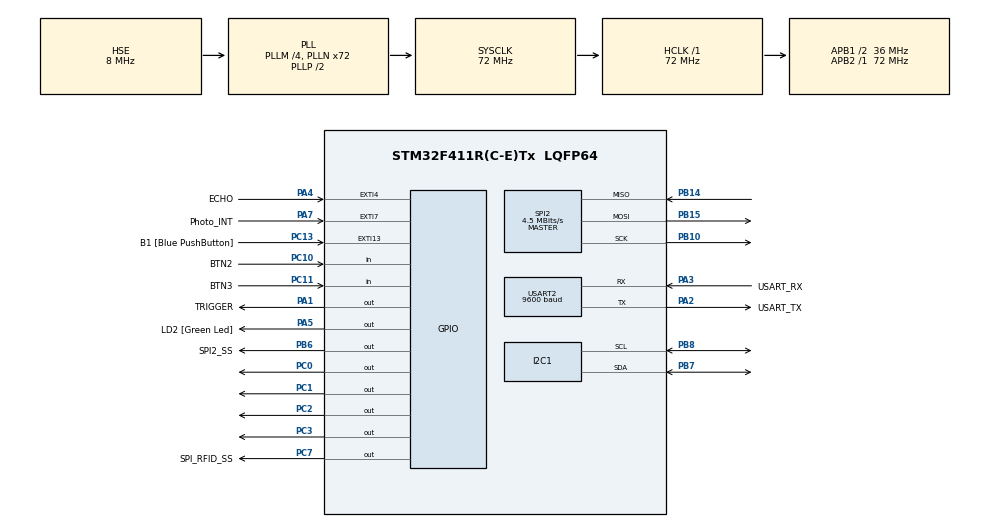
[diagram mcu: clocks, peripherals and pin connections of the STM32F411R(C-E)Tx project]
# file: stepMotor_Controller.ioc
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Mcu.Family=STM32F4
Mcu.Name=STM32F411R(C-E)Tx
Mcu.Package=LQFP64
NVIC.EXTI4_IRQn=true\:0\:3\:false\:false\:true\:true\:true
NVIC.EXTI9_5_IRQn=true\:0\:2\:false\:false\:true\:true\:true
NVIC.PriorityGroup=NVIC_PRIORITYGROUP_0
NVIC.TIM2_IRQn=true\:0\:1\:false\:false\:true\:true\:true
NVIC.TIM4_IRQn=true\:0\:0\:true\:false\:true\:true\:true
PA1.GPIO_Label=TRIGGER
PA1.Signal=GPIO_Output
PA13.GPIO_Label=TMS
PA13.Mode=Serial_Wire
PA13.Signal=SYS_JTMS-SWDIO
PA14.GPIO_Label=TCK
PA14.Mode=Serial_Wire
PA14.Signal=SYS_JTCK-SWCLK
PA2.GPIO_Label=USART_TX
PA2.Mode=Asynchronous
PA2.Signal=USART2_TX
PA3.GPIO_Label=USART_RX
PA3.Mode=Asynchronous
PA3.Signal=USART2_RX
PA4.GPIO_Label=ECHO
PA4.GPIO_ModeDefaultEXTI=GPIO_MODE_IT_RISING_FALLING
PA4.Signal=GPXTI4
PA5.GPIO_Label=LD2 [Green Led]
PA5.Signal=GPIO_Output
PA7.GPIO_Label=Photo_INT
PA7.GPIO_ModeDefaultEXTI=GPIO_MODE_IT_RISING
PA7.Signal=GPXTI7
PB10.Mode=Full_Duplex_Master
PB10.Signal=SPI2_SCK
PB14.Mode=Full_Duplex_Master
PB14.Signal=SPI2_MISO
PB15.Mode=Full_Duplex_Master
PB15.Signal=SPI2_MOSI
PB3.GPIO_Label=SWO
PB3.Signal=SYS_JTDO-SWO
PB6.GPIO_Label=SPI2_SS
PB6.Signal=GPIO_Output
PB7.Mode=I2C
PB7.Signal=I2C1_SDA
PB8.Mode=I2C
PB8.Signal=I2C1_SCL
PC0.Signal=GPIO_Output
PC1.Signal=GPIO_Output
PC10.GPIO_Label=BTN2
PC10.Signal=GPIO_Input
PC11.GPIO_Label=BTN3
PC11.Signal=GPIO_Input
PC13-ANTI_TAMP.GPIO_Label=B1 [Blue PushButton]
PC13-ANTI_TAMP.GPIO_ModeDefaultEXTI=GPIO_MODE_IT_FALLING
PC13-ANTI_TAMP.Signal=GPXTI13
PC14-OSC32_IN.Mode=LSE-External-Oscillator
PC14-OSC32_IN.Signal=RCC_OSC32_IN
PC15-OSC32_OUT.Mode=LSE-External-Oscillator
PC15-OSC32_OUT.Signal=RCC_OSC32_OUT
PC2.Signal=GPIO_Output
PC3.Signal=GPIO_Output
PC7.GPIO_Label=SPI_RFID_SS
PC7.Signal=GPIO_Output
PH0\ -\ OSC_IN.Mode=HSE-External-Clock-Source
PH0\ -\ OSC_IN.Signal=RCC_OSC_IN
PH1\ -\ OSC_OUT.Mode=HSE-External-Clock-Source
PH1\ -\ OSC_OUT.Signal=RCC_OSC_OUT
ProjectManager.HeapSize=0x200
ProjectManager.StackSize=0x400
ProjectManager.TargetToolchain=STM32CubeIDE
RCC.48MHZClocksFreq_Value=36000000
RCC.AHBFreq_Value=72000000
RCC.APB1CLKDivider=RCC_HCLK_DIV2
RCC.APB1Freq_Value=36000000
RCC.APB1TimFreq_Value=72000000
RCC.APB2Freq_Value=72000000
RCC.APB2TimFreq_Value=72000000
RCC.CortexFreq_Value=72000000
RCC.FLatency-AdvancedSettings=FLASH_LATENCY_2
RCC.HCLKFreq_Value=72000000
RCC.HSE_VALUE=8000000
RCC.HSI_VALUE=16000000
RCC.PLLM=4
RCC.PLLN=72
RCC.PLLSourceVirtual=RCC_PLLSOURCE_HSE
RCC.SYSCLKFreq_VALUE=72000000
RCC.SYSCLKSource=RCC_SYSCLKSOURCE_PLLCLK
RCC.VCOOutputFreq_Value=144000000
SPI2.BaudRatePrescaler=SPI_BAUDRATEPRESCALER_8
SPI2.CalculateBaudRate=4.5 MBits/s
SPI2.Direction=SPI_DIRECTION_2LINES
SPI2.Mode=SPI_MODE_MASTER
SPI2.VirtualType=VM_MASTER
TIM2.AutoReloadPreload=TIM_AUTORELOAD_PRELOAD_ENABLE
TIM2.Period=65535
TIM2.Prescaler=720-1
TIM3.Prescaler=72-1
TIM4.Period=100-1
TIM4.Prescaler=720-1
USART2.BaudRate=9600
USART2.VirtualMode=VM_ASYNC
VP_TIM2_VS_ClockSourceINT.Mode=Internal
VP_TIM3_VS_ClockSourceINT.Mode=Internal
VP_TIM4_VS_ClockSourceINT.Mode=Internal
board=NUCLEO-F411RE

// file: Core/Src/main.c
/* USER CODE BEGIN Header */
/**
  ******************************************************************************
  * @file           : main.c
  * @brief          : Main program body
  ******************************************************************************
  * @attention
  *
  * <h2><center>&copy; Copyright (c) 2025 STMicroelectronics.
  * All rights reserved.</center></h2>
  *
  * This software component is licensed by ST under BSD 3-Clause license,
  * the "License"; You may not use this file except in compliance with the
  * License. You may obtain a copy of the License at:
  *                        opensource.org/licenses/BSD-3-Clause
  *
  ******************************************************************************
  */
/* USER CODE END Header */
#include "main.h"

/* USER CODE BEGIN Includes */
#include <stdio.h>
#include <string.h>
#include "../Controller/rfid.h"
#include "../Controller/rfidDatabase.h"
#include "../Driver/I2C_LCD.h"
#include "../System/Queue.h"
#include "../Driver/Ultrasonic.h"
/* USER CODE END Includes */

I2C_HandleTypeDef hi2c1;

SPI_HandleTypeDef hspi2;

TIM_HandleTypeDef htim2;
TIM_HandleTypeDef htim3;
TIM_HandleTypeDef htim4;

UART_HandleTypeDef huart2;

void SystemClock_Config(void);
static void MX_GPIO_Init(void);
static void MX_USART2_UART_Init(void);
static void MX_TIM2_Init(void);
static void MX_SPI2_Init(void);
static void MX_TIM4_Init(void);
static void MX_I2C1_Init(void);
static void MX_TIM3_Init(void);

/* USER CODE BEGIN 0 */
int _write(int file, char *ptr, int len)
{
	HAL_UART_Transmit(&huart2, ptr, len, 1000);
	return len;
}

void HAL_TIM_PeriodElapsedCallback(TIM_HandleTypeDef *htim){
	if(htim->Instance == TIM4){
		// every 1ms interrupt
//		FND_ISR_Process();
		// want to check whether button is pushed every 0.1sec
		static uint32_t prevTime = 0;
		if(HAL_GetTick() - prevTime > 100){
			prevTime = HAL_GetTick();
			if(Button_GetState(&hButton_RunStop)){
				EnQueue(&hQue_ButtonRunStop, PUSHED);
			}else if(Button_GetState(&hButton_Dir)){
				EnQueue(&hQue_ButtonDir, PUSHED);
			}else if(Button_GetState(&hButton_Speed)){
				EnQueue(&hQue_ButtonSpeed, PUSHED);
			}
		}
	}
	else if(htim->Instance == TIM2){
		StepMotor_Control_ISR_Process();
	}
}

void HAL_GPIO_EXTI_Callback(uint16_t GPIO_Pin)
{
//	if(GPIO_Pin == GPIO_PIN_7)
//	{
//		if(HAL_GPIO_ReadPin(Photo_INT_GPIO_Port, Photo_INT_Pin))
//		{
//			printf("Rising Edge Interrupt\n");
//		}
//		else
//		{
//			printf("Falling Edge Interrupt\n");
//		}
//	}
	if(GPIO_Pin == GPIO_PIN_4)
	{
		UltraSonic_ISR_Process();
	}
}

/* USER CODE END 0 */

int main(void)
{

  /* MCU Configuration--------------------------------------------------------*/

  /* Reset of all peripherals, Initializes the Flash interface and the Systick. */
  HAL_Init();

  /* Configure the system clock */
  SystemClock_Config();

  /* Initialize all configured peripherals */
  MX_GPIO_Init();
  MX_USART2_UART_Init();
  MX_TIM2_Init();
  MX_SPI2_Init();
  MX_TIM4_Init();
  MX_I2C1_Init();
  MX_TIM3_Init();
  /* USER CODE BEGIN 2 */
//  i2c_lcd_init();
//  StepMotor_Controller_Init();
  HAL_TIM_Base_Start_IT(&htim4);
  HAL_TIM_Base_Start_IT(&htim3);
  HAL_TIM_Base_Start_IT(&htim2);
  /* USER CODE END 2 */

  /* Infinite loop */
  /* USER CODE BEGIN WHILE */

  printf("Hello??\n");

  while (1)
  {
	  UltraSonic_Trigger();
	  if(UltraSonic_IsReady())
	  {
		  printf("Distance %dcm\n",UltraSonic_GetDistance());
	  }
	  HAL_Delay(1000);

//	  HAL_Delay(1000); // simulate big code!!!
//	StepMotor_Controller();

	  /* FND */
//	  FND_SetData(counter++);
//	  HAL_Delay(100); //100ms = 0.1sec

    /* USER CODE END WHILE */

  }
}

void SystemClock_Config(void)
{
  RCC_OscInitTypeDef RCC_OscInitStruct = {0};
  RCC_ClkInitTypeDef RCC_ClkInitStruct = {0};

  /** Configure the main internal regulator output voltage
  */
  __HAL_RCC_PWR_CLK_ENABLE();
  __HAL_PWR_VOLTAGESCALING_CONFIG(PWR_REGULATOR_VOLTAGE_SCALE1);
  /** Initializes the RCC Oscillators according to the specified parameters
  * in the RCC_OscInitTypeDef structure.
  */
  RCC_OscInitStruct.OscillatorType = RCC_OSCILLATORTYPE_HSE;
  RCC_OscInitStruct.HSEState = RCC_HSE_BYPASS;
  RCC_OscInitStruct.PLL.PLLState = RCC_PLL_ON;
  RCC_OscInitStruct.PLL.PLLSource = RCC_PLLSOURCE_HSE;
  RCC_OscInitStruct.PLL.PLLM = 4;
  RCC_OscInitStruct.PLL.PLLN = 72;
  RCC_OscInitStruct.PLL.PLLP = RCC_PLLP_DIV2;
  RCC_OscInitStruct.PLL.PLLQ = 4;
  if (HAL_RCC_OscConfig(&RCC_OscInitStruct) != HAL_OK)
  {
    Error_Handler();
  }
  /** Initializes the CPU, AHB and APB buses clocks
  */
  RCC_ClkInitStruct.ClockType = RCC_CLOCKTYPE_HCLK|RCC_CLOCKTYPE_SYSCLK
                              |RCC_CLOCKTYPE_PCLK1|RCC_CLOCKTYPE_PCLK2;
  RCC_ClkInitStruct.SYSCLKSource = RCC_SYSCLKSOURCE_PLLCLK;
  RCC_ClkInitStruct.AHBCLKDivider = RCC_SYSCLK_DIV1;
  RCC_ClkInitStruct.APB1CLKDivider = RCC_HCLK_DIV2;
  RCC_ClkInitStruct.APB2CLKDivider = RCC_HCLK_DIV1;

  if (HAL_RCC_ClockConfig(&RCC_ClkInitStruct, FLASH_LATENCY_2) != HAL_OK)
  {
    Error_Handler();
  }
}

static void MX_I2C1_Init(void)
{

  hi2c1.Instance = I2C1;
  hi2c1.Init.ClockSpeed = 100000;
  hi2c1.Init.DutyCycle = I2C_DUTYCYCLE_2;
  hi2c1.Init.OwnAddress1 = 0;
  hi2c1.Init.AddressingMode = I2C_ADDRESSINGMODE_7BIT;
  hi2c1.Init.DualAddressMode = I2C_DUALADDRESS_DISABLE;
  hi2c1.Init.OwnAddress2 = 0;
  hi2c1.Init.GeneralCallMode = I2C_GENERALCALL_DISABLE;
  hi2c1.Init.NoStretchMode = I2C_NOSTRETCH_DISABLE;
  if (HAL_I2C_Init(&hi2c1) != HAL_OK)
  {
    Error_Handler();
  }

}

static void MX_SPI2_Init(void)
{

  /* SPI2 parameter configuration*/
  hspi2.Instance = SPI2;
  hspi2.Init.Mode = SPI_MODE_MASTER;
  hspi2.Init.Direction = SPI_DIRECTION_2LINES;
  hspi2.Init.DataSize = SPI_DATASIZE_8BIT;
  hspi2.Init.CLKPolarity = SPI_POLARITY_LOW;
  hspi2.Init.CLKPhase = SPI_PHASE_1EDGE;
  hspi2.Init.NSS = SPI_NSS_SOFT;
  hspi2.Init.BaudRatePrescaler = SPI_BAUDRATEPRESCALER_8;
  hspi2.Init.FirstBit = SPI_FIRSTBIT_MSB;
  hspi2.Init.TIMode = SPI_TIMODE_DISABLE;
  hspi2.Init.CRCCalculation = SPI_CRCCALCULATION_DISABLE;
  hspi2.Init.CRCPolynomial = 10;
  if (HAL_SPI_Init(&hspi2) != HAL_OK)
  {
    Error_Handler();
  }

}

static void MX_TIM2_Init(void)
{

  TIM_ClockConfigTypeDef sClockSourceConfig = {0};
  TIM_MasterConfigTypeDef sMasterConfig = {0};

  htim2.Instance = TIM2;
  htim2.Init.Prescaler = 720-1;
  htim2.Init.CounterMode = TIM_COUNTERMODE_UP;
  htim2.Init.Period = 65535;
  htim2.Init.ClockDivision = TIM_CLOCKDIVISION_DIV1;
  htim2.Init.AutoReloadPreload = TIM_AUTORELOAD_PRELOAD_ENABLE;
  if (HAL_TIM_Base_Init(&htim2) != HAL_OK)
  {
    Error_Handler();
  }
  sClockSourceConfig.ClockSource = TIM_CLOCKSOURCE_INTERNAL;
  if (HAL_TIM_ConfigClockSource(&htim2, &sClockSourceConfig) != HAL_OK)
  {
    Error_Handler();
  }
  sMasterConfig.MasterOutputTrigger = TIM_TRGO_RESET;
  sMasterConfig.MasterSlaveMode = TIM_MASTERSLAVEMODE_DISABLE;
  if (HAL_TIMEx_MasterConfigSynchronization(&htim2, &sMasterConfig) != HAL_OK)
  {
    Error_Handler();
  }

}

static void MX_TIM3_Init(void)
{

  TIM_ClockConfigTypeDef sClockSourceConfig = {0};
  TIM_MasterConfigTypeDef sMasterConfig = {0};

  htim3.Instance = TIM3;
  htim3.Init.Prescaler = 72-1;
  htim3.Init.CounterMode = TIM_COUNTERMODE_UP;
  htim3.Init.Period = 65535;
  htim3.Init.ClockDivision = TIM_CLOCKDIVISION_DIV1;
  htim3.Init.AutoReloadPreload = TIM_AUTORELOAD_PRELOAD_DISABLE;
  if (HAL_TIM_Base_Init(&htim3) != HAL_OK)
  {
    Error_Handler();
  }
  sClockSourceConfig.ClockSource = TIM_CLOCKSOURCE_INTERNAL;
  if (HAL_TIM_ConfigClockSource(&htim3, &sClockSourceConfig) != HAL_OK)
  {
    Error_Handler();
  }
  sMasterConfig.MasterOutputTrigger = TIM_TRGO_RESET;
  sMasterConfig.MasterSlaveMode = TIM_MASTERSLAVEMODE_DISABLE;
  if (HAL_TIMEx_MasterConfigSynchronization(&htim3, &sMasterConfig) != HAL_OK)
  {
    Error_Handler();
  }

}

static void MX_TIM4_Init(void)
{

  TIM_ClockConfigTypeDef sClockSourceConfig = {0};
  TIM_MasterConfigTypeDef sMasterConfig = {0};

  htim4.Instance = TIM4;
  htim4.Init.Prescaler = 720-1;
  htim4.Init.CounterMode = TIM_COUNTERMODE_UP;
  htim4.Init.Period = 100-1;
  htim4.Init.ClockDivision = TIM_CLOCKDIVISION_DIV1;
  htim4.Init.AutoReloadPreload = TIM_AUTORELOAD_PRELOAD_DISABLE;
  if (HAL_TIM_Base_Init(&htim4) != HAL_OK)
  {
    Error_Handler();
  }
  sClockSourceConfig.ClockSource = TIM_CLOCKSOURCE_INTERNAL;
  if (HAL_TIM_ConfigClockSource(&htim4, &sClockSourceConfig) != HAL_OK)
  {
    Error_Handler();
  }
  sMasterConfig.MasterOutputTrigger = TIM_TRGO_RESET;
  sMasterConfig.MasterSlaveMode = TIM_MASTERSLAVEMODE_DISABLE;
  if (HAL_TIMEx_MasterConfigSynchronization(&htim4, &sMasterConfig) != HAL_OK)
  {
    Error_Handler();
  }

}

static void MX_USART2_UART_Init(void)
{

  huart2.Instance = USART2;
  huart2.Init.BaudRate = 9600;
  huart2.Init.WordLength = UART_WORDLENGTH_8B;
  huart2.Init.StopBits = UART_STOPBITS_1;
  huart2.Init.Parity = UART_PARITY_NONE;
  huart2.Init.Mode = UART_MODE_TX_RX;
  huart2.Init.HwFlowCtl = UART_HWCONTROL_NONE;
  huart2.Init.OverSampling = UART_OVERSAMPLING_16;
  if (HAL_UART_Init(&huart2) != HAL_OK)
  {
    Error_Handler();
  }

}

static void MX_GPIO_Init(void)
{
  GPIO_InitTypeDef GPIO_InitStruct = {0};

  /* GPIO Ports Clock Enable */
  __HAL_RCC_GPIOC_CLK_ENABLE();
  __HAL_RCC_GPIOH_CLK_ENABLE();
  __HAL_RCC_GPIOA_CLK_ENABLE();
  __HAL_RCC_GPIOB_CLK_ENABLE();

  /*Configure GPIO pin Output Level */
  HAL_GPIO_WritePin(GPIOC, GPIO_PIN_0|GPIO_PIN_1|GPIO_PIN_2|GPIO_PIN_3
                          |SPI_RFID_SS_Pin, GPIO_PIN_RESET);

  /*Configure GPIO pin Output Level */
  HAL_GPIO_WritePin(GPIOA, TRIGGER_Pin|LD2_Pin, GPIO_PIN_RESET);

  /*Configure GPIO pin Output Level */
  HAL_GPIO_WritePin(SPI2_SS_GPIO_Port, SPI2_SS_Pin, GPIO_PIN_RESET);

  /*Configure GPIO pin : B1_Pin */
  GPIO_InitStruct.Pin = B1_Pin;
  GPIO_InitStruct.Mode = GPIO_MODE_IT_FALLING;
  GPIO_InitStruct.Pull = GPIO_NOPULL;
  HAL_GPIO_Init(B1_GPIO_Port, &GPIO_InitStruct);

  /*Configure GPIO pins : PC0 PC1 PC2 PC3
                           SPI_RFID_SS_Pin */
  GPIO_InitStruct.Pin = GPIO_PIN_0|GPIO_PIN_1|GPIO_PIN_2|GPIO_PIN_3
                          |SPI_RFID_SS_Pin;
  GPIO_InitStruct.Mode = GPIO_MODE_OUTPUT_PP;
  GPIO_InitStruct.Pull = GPIO_NOPULL;
  GPIO_InitStruct.Speed = GPIO_SPEED_FREQ_LOW;
  HAL_GPIO_Init(GPIOC, &GPIO_InitStruct);

  /*Configure GPIO pins : TRIGGER_Pin LD2_Pin */
  GPIO_InitStruct.Pin = TRIGGER_Pin|LD2_Pin;
  GPIO_InitStruct.Mode = GPIO_MODE_OUTPUT_PP;
  GPIO_InitStruct.Pull = GPIO_NOPULL;
  GPIO_InitStruct.Speed = GPIO_SPEED_FREQ_LOW;
  HAL_GPIO_Init(GPIOA, &GPIO_InitStruct);

  /*Configure GPIO pin : ECHO_Pin */
  GPIO_InitStruct.Pin = ECHO_Pin;
  GPIO_InitStruct.Mode = GPIO_MODE_IT_RISING_FALLING;
  GPIO_InitStruct.Pull = GPIO_NOPULL;
  HAL_GPIO_Init(ECHO_GPIO_Port, &GPIO_InitStruct);

  /*Configure GPIO pin : Photo_INT_Pin */
  GPIO_InitStruct.Pin = Photo_INT_Pin;
  GPIO_InitStruct.Mode = GPIO_MODE_IT_RISING;
  GPIO_InitStruct.Pull = GPIO_NOPULL;
  HAL_GPIO_Init(Photo_INT_GPIO_Port, &GPIO_InitStruct);

  /*Configure GPIO pins : BTN2_Pin BTN3_Pin */
  GPIO_InitStruct.Pin = BTN2_Pin|BTN3_Pin;
  GPIO_InitStruct.Mode = GPIO_MODE_INPUT;
  GPIO_InitStruct.Pull = GPIO_NOPULL;
  HAL_GPIO_Init(GPIOC, &GPIO_InitStruct);

  /*Configure GPIO pin : SPI2_SS_Pin */
  GPIO_InitStruct.Pin = SPI2_SS_Pin;
  GPIO_InitStruct.Mode = GPIO_MODE_OUTPUT_PP;
  GPIO_InitStruct.Pull = GPIO_NOPULL;
  GPIO_InitStruct.Speed = GPIO_SPEED_FREQ_LOW;
  HAL_GPIO_Init(SPI2_SS_GPIO_Port, &GPIO_InitStruct);

  /* EXTI interrupt init*/
  HAL_NVIC_SetPriority(EXTI4_IRQn, 0, 3);
  HAL_NVIC_EnableIRQ(EXTI4_IRQn);

  HAL_NVIC_SetPriority(EXTI9_5_IRQn, 0, 2);
  HAL_NVIC_EnableIRQ(EXTI9_5_IRQn);

}

void Error_Handler(void)
{
  __disable_irq();
  while (1)
  {
  }
}

/************************ (C) COPYRIGHT STMicroelectronics *****END OF FILE****/
